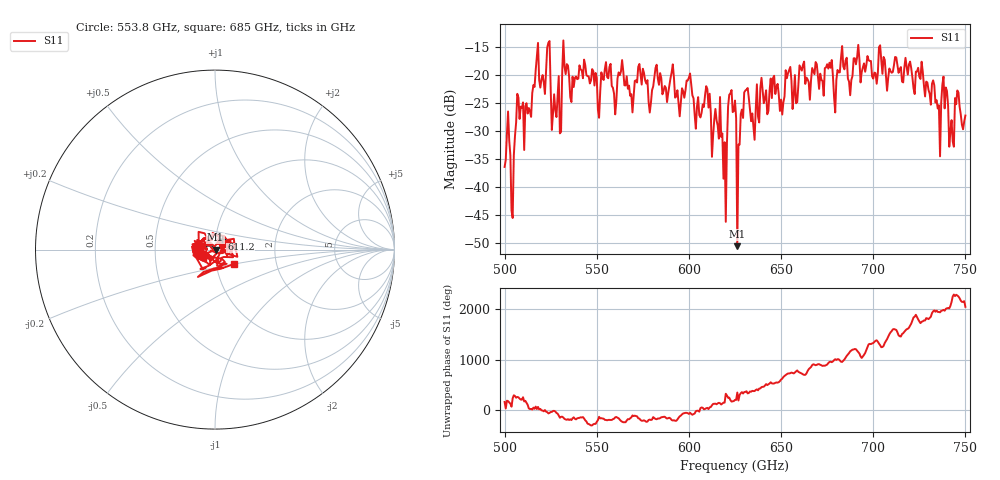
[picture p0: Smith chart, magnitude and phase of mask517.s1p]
!Created with skrf (http://scikit-rf.org).
# GHz S MA R 50.0
!freq magS11 angS11
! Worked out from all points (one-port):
!   401 points, 500 GHz to 750 GHz, reference 50 ohm
!   lowest |S11| = -50.6 dB at 626.2 GHz (marker M1), VSWR 1.01, Z = 50.3 - j0.0451 ohm
!   |S11| at or under -10 dB: start of sweep to end of sweep
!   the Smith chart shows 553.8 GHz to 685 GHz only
!   S11 on the Smith chart (normalised r, x): 553.8 GHz: 0.84, -0.03; 611.2 GHz: 1.07, +0.12; 685 GHz: 1.23, -0.20
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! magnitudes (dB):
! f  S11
! 500 GHz  -36.5
! 501.9 GHz  -26.6
! 504.4 GHz  -45.6
! 507.5 GHz  -24.1
! 513.8 GHz  -26.6
! 516.9 GHz  -19.2
! 523.8 GHz  -14.3
! 526.9 GHz  -23.5
! 531.2 GHz  -19.6
! 553.8 GHz  -21.0
! 562.5 GHz  -20.1
! 593.8 GHz  -22.8
! 611.2 GHz  -23.4
! 619.4 GHz  -32.1
! 622.5 GHz  -23.4
! 625 GHz  -24.6
! 626.2 GHz  -50.6
! 631.2 GHz  -22.7
! 635 GHz  -29.2
! 656.2 GHz  -26.1
! 685 GHz  -17.4
! 687.5 GHz  -23.7
! 718.8 GHz  -20.0
! 735 GHz  -26.1
! 738.8 GHz  -26.0
! 742.5 GHz  -28.1
! 745.6 GHz  -22.8
! 750 GHz  -27.3
